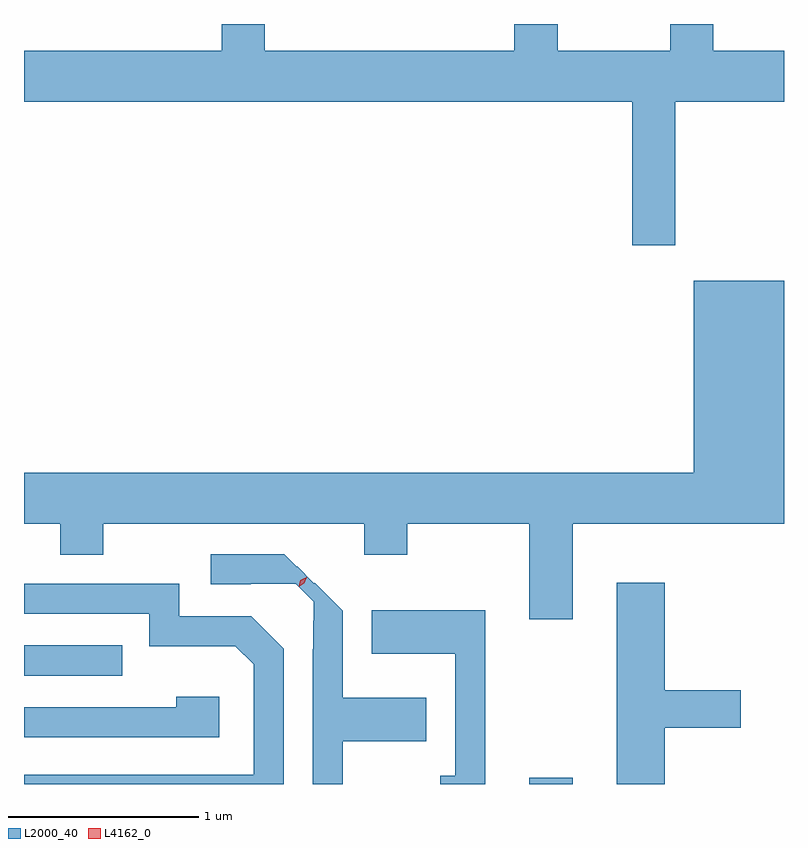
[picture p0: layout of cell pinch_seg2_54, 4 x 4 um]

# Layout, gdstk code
import gdstk
lib = gdstk.Library(unit=1e-6, precision=1e-09)
def R(c, l, rs):  # rectangles x0, y0, x1, y1
    for r in rs: c.add(gdstk.rectangle(r[:2], r[2:], *l))
def P(c, l, *ps):  # polygons
    for p in ps: c.add(gdstk.Polygon(p, *l))
L2000_40 = (2000, 40)
L4162_0 = (4162, 0)

pinch_seg2_54 = lib.new_cell('pinch_seg2_54')
R(pinch_seg2_54, L2000_40, [(1220.071,1111.325,1220.299,1111.359), (1217.411,1111.896,1217.928,1112.054)])
P(pinch_seg2_54, L2000_40, [(1220.839,1114.916),(1221.411,1114.916),(1221.411,1115.184),(1221.039,1115.184),(1221.039,1115.325),(1220.811,1115.325),(1220.811,1115.184),(1220.219,1115.184),(1220.219,1115.325),(1219.991,1115.325),(1219.991,1115.184),(1218.679,1115.184),(1218.679,1115.325),(1218.451,1115.325),(1218.451,1115.184),(1217.411,1115.184),(1217.411,1114.916),(1220.611,1114.916),(1220.611,1114.161),(1220.839,1114.161)],
  [(1220.299,1112.696),(1221.411,1112.696),(1221.411,1113.974),(1220.936,1113.974),(1220.936,1112.964),(1217.411,1112.964),(1217.411,1112.696),(1217.601,1112.696),(1217.601,1112.531),(1217.829,1112.531),(1217.829,1112.696),(1219.201,1112.696),(1219.201,1112.531),(1219.429,1112.531),(1219.429,1112.696),(1220.071,1112.696),(1220.071,1112.191),(1220.299,1112.191)],
  [(1219.089,1111.551),(1219.529,1111.551),(1219.529,1111.779),(1219.089,1111.779),(1219.089,1112.236),(1218.94,1112.385),(1218.937,1112.382),(1218.848,1112.471),(1218.846,1112.468),(1218.78,1112.534),(1218.393,1112.534),(1218.393,1112.376),(1218.605,1112.376),(1218.605,1112.378),(1218.74,1112.378),(1218.74,1112.38),(1218.84,1112.38),(1218.935,1112.285),(1218.935,1112.185),(1218.933,1112.185),(1218.933,1112.035),(1218.931,1112.035),(1218.931,1111.325),(1219.089,1111.325)],
  [(1220.784,1111.621),(1221.184,1111.621),(1221.184,1111.819),(1220.784,1111.819),(1220.784,1112.384),(1220.531,1112.384),(1220.531,1111.325),(1220.784,1111.325)],
  [(1218.779,1112.037),(1218.607,1112.209),(1218.229,1112.209),(1218.229,1112.379),(1217.411,1112.379),(1217.411,1112.221),(1218.071,1112.221),(1218.071,1112.051),(1218.524,1112.051),(1218.621,1111.954),(1218.621,1111.374),(1217.411,1111.374),(1217.411,1111.325),(1218.779,1111.325)],
  [(1219.839,1112.239),(1219.241,1112.239),(1219.241,1112.011),(1219.681,1112.011),(1219.681,1111.369),(1219.603,1111.369),(1219.603,1111.325),(1219.839,1111.325)],
  [(1218.439,1111.784),(1218.211,1111.784),(1218.211,1111.729),(1217.411,1111.729),(1217.411,1111.571),(1218.439,1111.571)])
P(pinch_seg2_54, L4162_0, [(1218.856,1112.363),(1218.856,1112.364),(1218.869,1112.395),(1218.897,1112.414),(1218.898,1112.414),(1218.898,1112.413),(1218.885,1112.382),(1218.857,1112.363)],
  [(1218.859,1112.374),(1218.859,1112.375),(1218.865,1112.398),(1218.886,1112.409),(1218.887,1112.409),(1218.887,1112.408),(1218.881,1112.385),(1218.86,1112.374)])

lib.write_gds('pinch_seg2_54.gds')
